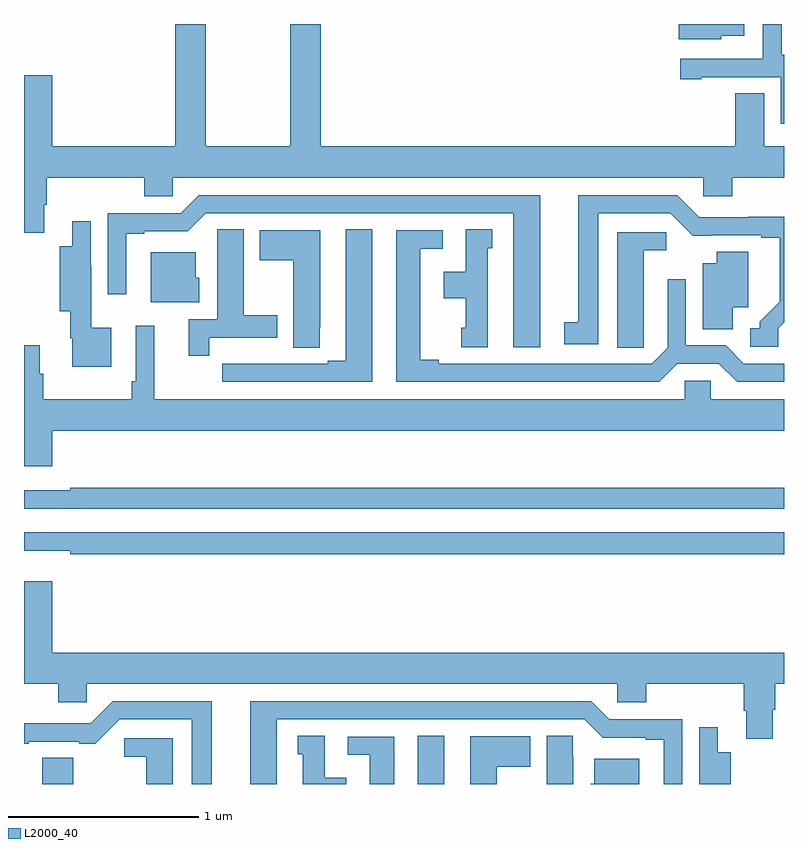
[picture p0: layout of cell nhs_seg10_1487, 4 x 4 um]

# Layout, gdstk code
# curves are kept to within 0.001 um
import gdstk
lib = gdstk.Library(unit=1e-6, precision=1e-09)
def R(c, l, rs):  # rectangles x0, y0, x1, y1
    for r in rs: c.add(gdstk.rectangle(r[:2], r[2:], *l))
def P(c, l, *ps):  # polygons
    for p in ps: c.add(gdstk.Polygon(p, *l))
L2000_40 = (2000, 40)

nhs_seg10_1487 = lib.new_cell('nhs_seg10_1487')
R(nhs_seg10_1487, L2000_40, [(189.095,1254.5,189.258,1254.638), (191.072,1254.5,191.212,1254.755)])
P(nhs_seg10_1487, L2000_40, [(192.669,1258.439),(192.79,1258.439),(192.79,1258.5),(192.446,1258.5),(192.446,1258.421),(192.669,1258.421)],
  [(189.106,1257.55),(189.119,1257.55),(189.119,1257.692),(189.632,1257.692),(189.632,1257.594),(189.783,1257.594),(189.783,1257.692),(192.576,1257.692),(192.576,1257.594),(192.728,1257.594),(192.728,1257.692),(193,1257.692),(193,1257.856),(192.895,1257.856),(192.895,1258.136),(192.743,1258.136),(192.743,1257.856),(190.562,1257.856),(190.562,1258.5),(190.402,1258.5),(190.402,1257.856),(189.957,1257.856),(189.957,1258.5),(189.797,1258.5),(189.797,1257.856),(189.148,1257.856),(189.148,1258.231),(189,1258.231),(189,1257.402),(189.106,1257.402)],
  [(193,1258.337),(192.987,1258.337),(192.987,1258.5),(192.888,1258.5),(192.888,1258.317),(192.453,1258.317),(192.453,1258.209),(192.565,1258.209),(192.565,1258.221),(192.984,1258.221),(192.984,1257.975),(193,1257.975)],
  [(191.716,1257.6),(189.921,1257.6),(189.825,1257.504),(189.441,1257.504),(189.441,1257.078),(189.538,1257.078),(189.538,1257.396),(189.634,1257.396),(189.634,1257.408),(189.861,1257.408),(189.957,1257.504),(191.576,1257.504),(191.576,1256.799),(191.716,1256.799)],
  [(192.969,1256.898),(193,1256.929),(193,1257.485),(192.811,1257.485),(192.811,1257.483),(192.555,1257.483),(192.438,1257.6),(191.918,1257.6),(191.918,1256.93),(191.844,1256.93),(191.844,1256.814),(192.022,1256.814),(192.022,1257.504),(192.402,1257.504),(192.52,1257.386),(192.881,1257.387),(192.881,1257.375),(192.977,1257.375),(192.977,1257.038),(192.872,1256.933),(192.872,1256.898),(192.822,1256.898),(192.822,1256.802),(192.969,1256.802)],
  [(189.46,1256.902),(189.354,1256.902),(189.354,1257.227),(189.352,1257.227),(189.352,1257.463),(189.254,1257.463),(189.254,1257.331),(189.187,1257.331),(189.187,1256.987),(189.243,1256.987),(189.243,1256.846),(189.255,1256.846),(189.255,1256.696),(189.46,1256.696)],
  [(190.834,1257.419),(190.694,1257.419),(190.694,1256.727),(190.598,1256.727),(190.598,1256.712),(190.322,1256.712),(190.322,1256.713),(190.156,1256.713),(190.156,1256.712),(190.044,1256.712),(190.044,1256.616),(190.834,1256.616)],
  [(189.974,1256.85),(190.333,1256.85),(190.333,1256.967),(190.156,1256.967),(190.156,1257.419),(190.017,1257.419),(190.017,1257.308),(190.016,1257.308),(190.016,1256.946),(189.866,1256.946),(189.866,1256.754),(189.974,1256.754)],
  [(191.44,1257.321),(191.464,1257.321),(191.464,1257.419),(191.324,1257.419),(191.324,1257.196),(191.21,1257.196),(191.21,1257.056),(191.324,1257.056),(191.324,1256.901),(191.3,1256.901),(191.3,1256.799),(191.44,1256.799)],
  [(190.557,1256.905),(190.558,1256.905),(190.558,1257.415),(190.241,1257.415),(190.241,1257.256),(190.418,1257.256),(190.418,1256.797),(190.557,1256.797)],
  [(192.439,1256.712),(192.657,1256.712),(192.753,1256.616),(193,1256.616),(193,1256.712),(192.789,1256.712),(192.693,1256.808),(192.483,1256.808),(192.483,1257.157),(192.387,1257.157),(192.387,1256.796),(192.303,1256.712),(191.182,1256.712),(191.182,1256.732),(191.086,1256.732),(191.086,1257.318),(191.203,1257.318),(191.203,1257.414),(190.958,1257.414),(190.958,1256.616),(192.343,1256.616)],
  [(192.261,1256.905),(192.262,1256.905),(192.262,1257.308),(192.379,1257.308),(192.379,1257.405),(192.122,1257.405),(192.122,1256.797),(192.261,1256.797)],
  [(192.73,1257.008),(192.811,1257.008),(192.811,1257.302),(192.647,1257.302),(192.647,1257.241),(192.572,1257.241),(192.572,1256.893),(192.73,1256.893)],
  [(189.922,1257.165),(189.904,1257.165),(189.904,1257.298),(189.668,1257.298),(189.668,1257.035),(189.922,1257.035)],
  [(189.148,1256.36),(193,1256.36),(193,1256.524),(192.615,1256.524),(192.615,1256.622),(192.477,1256.622),(192.477,1256.524),(189.686,1256.524),(189.686,1256.911),(189.588,1256.911),(189.588,1256.62),(189.568,1256.62),(189.568,1256.524),(189.101,1256.524),(189.101,1256.658),(189.082,1256.658),(189.082,1256.809),(189,1256.809),(189,1256.172),(189.148,1256.172)],
  [(193,1256.059),(189.244,1256.059),(189.244,1256.046),(189,1256.046),(189,1255.95),(193,1255.95)],
  [(193,1255.824),(189,1255.824),(189,1255.727),(189.244,1255.727),(189.244,1255.708),(193,1255.708)],
  [(192.94,1254.891),(192.953,1254.891),(192.953,1255.028),(193,1255.028),(193,1255.192),(189.148,1255.192),(189.148,1255.567),(189,1255.567),(189,1255.028),(189.179,1255.028),(189.179,1254.93),(189.33,1254.93),(189.33,1255.028),(192.123,1255.028),(192.123,1254.93),(192.275,1254.93),(192.275,1255.028),(192.788,1255.028),(192.788,1254.886),(192.8,1254.886),(192.8,1254.738),(192.94,1254.738)],
  [(189.988,1254.936),(189.468,1254.936),(189.351,1254.819),(189.095,1254.819),(189.095,1254.821),(189,1254.821),(189,1254.711),(189.025,1254.711),(189.025,1254.723),(189.29,1254.723),(189.29,1254.712),(189.376,1254.712),(189.504,1254.84),(189.884,1254.84),(189.884,1254.5),(189.988,1254.5)],
  [(190.33,1254.84),(191.949,1254.84),(192.045,1254.744),(192.272,1254.744),(192.272,1254.732),(192.368,1254.732),(192.368,1254.5),(192.465,1254.5),(192.465,1254.84),(192.081,1254.84),(191.985,1254.936),(190.19,1254.936),(190.19,1254.5),(190.33,1254.5)],
  [(192.72,1254.667),(192.652,1254.667),(192.652,1254.799),(192.554,1254.799),(192.554,1254.563),(192.553,1254.563),(192.553,1254.5),(192.72,1254.5)],
  [(191.89,1254.644),(191.889,1254.644),(191.889,1254.755),(191.75,1254.755),(191.75,1254.5),(191.89,1254.5)],
  [(190.696,1254.532),(190.582,1254.532),(190.582,1254.755),(190.442,1254.755),(190.442,1254.657),(190.466,1254.657),(190.466,1254.5),(190.696,1254.5)],
  [(191.488,1254.592),(191.665,1254.592),(191.665,1254.751),(191.348,1254.751),(191.348,1254.5),(191.488,1254.5)],
  [(190.948,1254.75),(190.704,1254.75),(190.704,1254.654),(190.82,1254.654),(190.82,1254.5),(190.948,1254.5)],
  [(189.784,1254.741),(189.528,1254.741),(189.528,1254.644),(189.644,1254.644),(189.644,1254.5),(189.784,1254.5)],
  [(192.238,1254.634),(192.002,1254.634),(192.002,1254.501),(191.984,1254.501),(191.984,1254.5),(192.238,1254.5)])

lib.write_gds('nhs_seg10_1487.gds')
